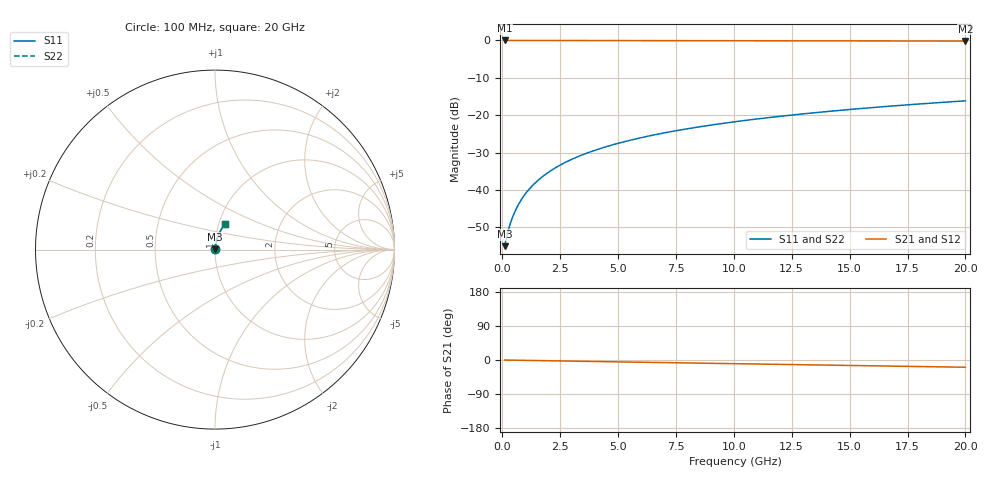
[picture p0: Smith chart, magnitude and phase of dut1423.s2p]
! Touchstone file exported from HFSS 2026.1.0
!  File:  C:/ffzhzh/LocalFiles/Ansys_Project_Files/temp_train_TMRDL_1423_1783166728_51560.aedt
!  Generated:  08:06:41 PM Jul  4, 2026
!  Design:  TMRDL
!  Project:  temp_train_TMRDL_1423_1783166728_51560
! Variables:
!  h_bsmrdl = 2um
!  h_ox = 20um
!  h_rdl = 5um
!  h_sub = 80um
!  h_tmrdl = 4.66um
!  h_tsv = 80um
!  h_via = 3um
!  l_bsmrdl = 300um
!  l_sub = 685.68um
!  l_tmrdl = 285.68um
!  m_sub = 200um
!  pitch = 31.55um
!  r_tsv = 6um
!  s_tmrdl = 10um
!  w_bsmrdl = 18um
!  w_sub = 500um
!  w_tmrdl = 16.2um
!  x_tsv_center1 = 293.78um
!  x_tsv_center2 = 611.78um
!  x_tsv_center3 = 913.66um
!  x_tsv_center4 = 1231.66um
!  x_tsv_center5 = 1533.54um
!  x_tsv_center6 = 1851.54um
# GHz S MA R 50.000000
! Terminal data exported
! Port[1] = TM_RDL1_1_T1
! Port[2] = TM_RDL1_1_T2
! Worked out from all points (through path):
!   200 points, 100 MHz to 20 GHz, reference 50 ohm
!   highest |S21| = -0.01 dB at 100 MHz (marker M1); lowest = -0.2 dB at 20 GHz (marker M2)
!   group delay of S21, straight-line fit = 2.65 ps
!   lowest |S11| = -55.1 dB at 100 MHz (marker M3), VSWR 1.00, Z = 50.1 + j0.0964 ohm
!   |S11| at or under -10 dB: start of sweep to end of sweep
!   |S22| runs from -55.1 to -16.2 dB; largest |S21 - S12| = 2.1e-15
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0.1  0.001766 33.0  0.9985 -0.1  0.9985 -0.1  0.001766 33.0
! Gamma 0 0 0 0
! Port Impedance 50 0 50 0
0.2  0.00244 50.2  0.9984 -0.2  0.9984 -0.2  0.00244 50.2
0.3  0.003199 59.2  0.9984 -0.3  0.9984 -0.3  0.003198 59.2
0.4  0.003981 64.6  0.9983 -0.4  0.9983 -0.4  0.00398 64.6
0.5  0.004776 68.4  0.9983 -0.5  0.9983 -0.5  0.004775 68.4
0.6  0.005583 71.1  0.9982 -0.6  0.9982 -0.6  0.005582 71.1
0.8  0.007221 74.7  0.9982 -0.8  0.9982 -0.8  0.007221 74.7
1.1  0.009717 77.8  0.9981 -1.1  0.9981 -1.1  0.009717 77.8
1.3  0.01139 79.0  0.998 -1.3  0.998 -1.3  0.01139 79.0
1.6  0.01392 80.1  0.9979 -1.6  0.9979 -1.6  0.01392 80.1
2.1  0.01812 81.1  0.9977 -2.1  0.9977 -2.1  0.01813 81.1
2.7  0.02315 81.4  0.9974 -2.7  0.9974 -2.7  0.02315 81.5
3.5  0.02978 81.3  0.9969 -3.5  0.9969 -3.5  0.02978 81.4
4.2  0.03552 81.0  0.9964 -4.2  0.9964 -4.2  0.03552 81.0
5  0.042 80.5  0.9958 -4.9  0.9958 -4.9  0.042 80.5
5.9  0.04921 79.9  0.9951 -5.8  0.9951 -5.8  0.04921 79.9
6.8  0.05635 79.2  0.9944 -6.7  0.9944 -6.7  0.05635 79.2
8.3  0.0681 78.0  0.9931 -8.1  0.9931 -8.1  0.0681 78.1
10.1  0.08203 76.6  0.9915 -9.8  0.9915 -9.8  0.08202 76.6
13.4  0.1071 73.9  0.9883 -12.9  0.9883 -12.9  0.1071 73.9
16.7  0.1316 71.0  0.9847 -16.0  0.9847 -16.0  0.1316 71.1
20  0.1555 68.2  0.9806 -19.1  0.9806 -19.1  0.1555 68.3
